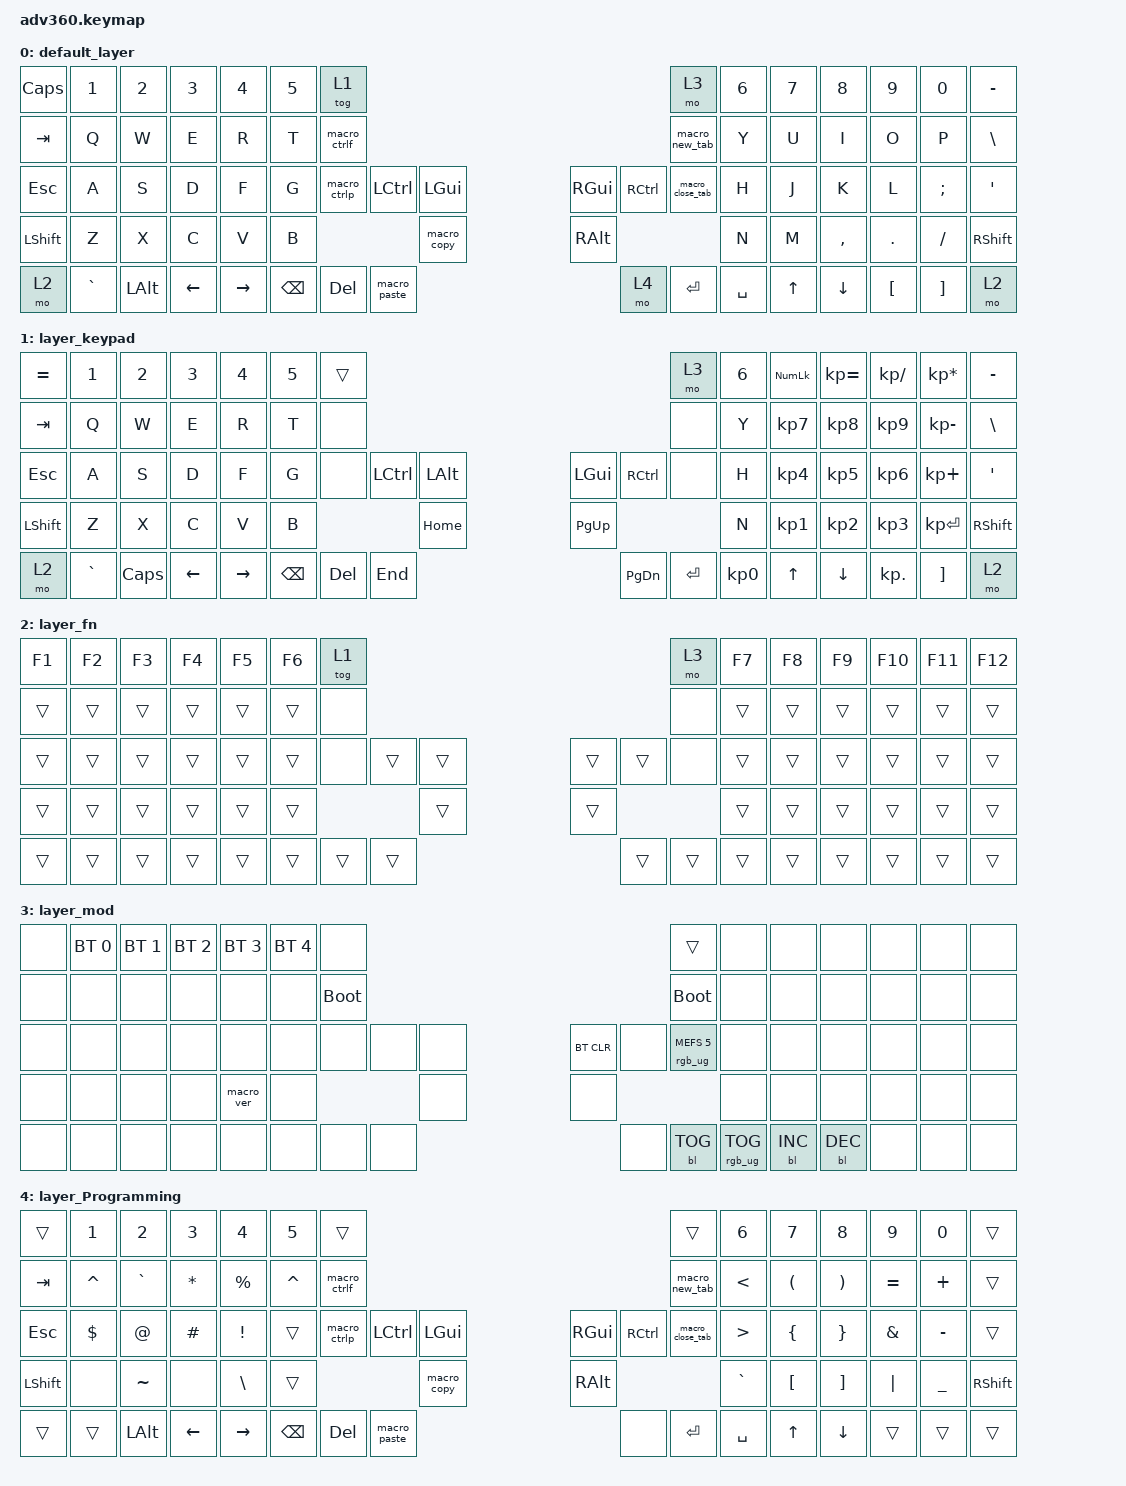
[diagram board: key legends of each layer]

/*
 * Copyright (c) 2020 The ZMK Contributors
 *
 * SPDX-License-Identifier: MIT
 */


/* THIS FILE WAS GENERATED!
 *
 * This file was generated automatically. You may or may not want to
 * edit it directly.
 */

#include <behaviors.dtsi>
#include <dt-bindings/zmk/keys.h>
#include <dt-bindings/zmk/bt.h>
#include <dt-bindings/zmk/rgb.h>
#include <dt-bindings/zmk/backlight.h>

/ {
  behaviors {
    #include "macros.dtsi"
    #include "version.dtsi"

    hm: homerow_mods {
        compatible = "zmk,behavior-hold-tap";
        label = "HOMEROW_MODS";
        #binding-cells = <2>;
        tapping-term-ms = <200>;
        quick_tap_ms = <175>;
        flavor = "tap-preferred";
        bindings = <&kp>, <&kp>;
    };
  };

    keymap {
        compatible = "zmk,keymap";


        default_layer {
            bindings = <
  &kp CAPS     &kp N1    &kp N2    &kp N3     &kp N4  &kp N5                  &tog 1                                                                           &mo 3  &kp N6  &kp N7     &kp N8    &kp N9    &kp N0  &kp MINUS
   &kp TAB      &kp Q     &kp W     &kp E      &kp R   &kp T            &macro_ctrlf                                                                  &macro_new_tab   &kp Y   &kp U      &kp I     &kp O     &kp P   &kp BSLH
   &kp ESC      &kp A     &kp S     &kp D      &kp F   &kp G            &macro_ctrlp  &kp LCTRL      &kp LGUI                  &kp RGUI  &kp RCTRL  &macro_close_tab   &kp H   &kp J      &kp K     &kp L  &kp SEMI    &kp SQT
 &kp LSHFT      &kp Z     &kp X     &kp C      &kp V   &kp B                                      &macro_copy                  &kp RALT                                &kp N   &kp M  &kp COMMA   &kp DOT  &kp FSLH  &kp RSHFT
     &mo 2  &kp GRAVE  &kp LALT  &kp LEFT  &kp RIGHT                        &kp BSPC    &kp DEL  &macro_paste                     &mo 4  &kp ENTER         &kp SPACE          &kp UP   &kp DOWN  &kp LBKT  &kp RBKT      &mo 2
            >;
        };

        layer_keypad {
            bindings = <
 &kp EQUAL     &kp N1    &kp N2    &kp N3     &kp N4  &kp N5              &trans                                                                 &mo 3  &kp N6  &kp KP_NUM  &kp KP_EQUAL  &kp KP_DIVIDE  &kp KP_MULTIPLY  &kp MINUS
   &kp TAB      &kp Q     &kp W     &kp E      &kp R   &kp T               &none                                                                 &none   &kp Y   &kp KP_N7     &kp KP_N8      &kp KP_N9     &kp KP_MINUS   &kp BSLH
   &kp ESC      &kp A     &kp S     &kp D      &kp F   &kp G               &none  &kp LCTRL  &kp LALT                   &kp LGUI  &kp RCTRL      &none   &kp H   &kp KP_N4     &kp KP_N5      &kp KP_N6      &kp KP_PLUS    &kp SQT
 &kp LSHFT      &kp Z     &kp X     &kp C      &kp V   &kp B                                 &kp HOME                  &kp PG_UP                         &kp N   &kp KP_N1     &kp KP_N2      &kp KP_N3     &kp KP_ENTER  &kp RSHFT
     &mo 2  &kp GRAVE  &kp CAPS  &kp LEFT  &kp RIGHT                    &kp BSPC    &kp DEL   &kp END                  &kp PG_DN  &kp ENTER  &kp KP_N0              &kp UP      &kp DOWN     &kp KP_DOT         &kp RBKT      &mo 2
            >;
        };

        layer_fn {
            bindings = <
 &kp F1  &kp F2  &kp F3  &kp F4  &kp F5  &kp F6            &tog 1                                                   &mo 3  &kp F7  &kp F8  &kp F9  &kp F10  &kp F11  &kp F12
 &trans  &trans  &trans  &trans  &trans  &trans             &none                                                   &none  &trans  &trans  &trans   &trans   &trans   &trans
 &trans  &trans  &trans  &trans  &trans  &trans             &none  &trans  &trans                  &trans  &trans   &none  &trans  &trans  &trans   &trans   &trans   &trans
 &trans  &trans  &trans  &trans  &trans  &trans                            &trans                  &trans                  &trans  &trans  &trans   &trans   &trans   &trans
 &trans  &trans  &trans  &trans  &trans                    &trans  &trans  &trans                  &trans  &trans  &trans          &trans  &trans   &trans   &trans   &trans
            >;
        };

        layer_mod {
            bindings = <
  &none  &bt BT_SEL 0  &bt BT_SEL 1  &bt BT_SEL 2  &bt BT_SEL 3  &bt BT_SEL 4                  &none                                                                          &trans   &none       &none       &none   &none   &none   &none
  &none         &none         &none         &none         &none         &none            &bootloader                                                                     &bootloader   &none       &none       &none   &none   &none   &none
  &none         &none         &none         &none         &none         &none                  &none   &none   &none                  &bt BT_CLR       &none  &rgb_ug RGB_MEFS_CMD 5   &none       &none       &none   &none   &none   &none
  &none         &none         &none         &none    &macro_ver         &none                                  &none                       &none                                       &none       &none       &none   &none   &none   &none
  &none         &none         &none         &none         &none                                &none   &none   &none                       &none  &bl BL_TOG         &rgb_ug RGB_TOG          &bl BL_INC  &bl BL_DEC   &none   &none   &none
            >;
        };

        layer_Programming {
            bindings = <
    &trans  &kp NUMBER_1  &kp NUMBER_2    &kp NUMBER_3     &kp NUMBER_4  &kp NUMBER_5                   &trans                                                                          &trans  &kp NUMBER_6  &kp NUMBER_7    &kp NUMBER_8   &kp NUMBER_9  &kp NUMBER_0     &trans
   &kp TAB     &kp CARET     &kp GRAVE    &kp ASTERISK      &kp PERCENT     &kp CARET             &macro_ctrlf                                                                  &macro_new_tab        &kp LT      &kp LPAR        &kp RPAR      &kp EQUAL      &kp PLUS     &trans
   &kp ESC    &kp DOLLAR        &kp AT        &kp HASH  &kp EXCLAMATION        &trans             &macro_ctrlp  &kp LCTRL  &kp LEFT_GUI                  &kp RGUI  &kp RCTRL  &macro_close_tab        &kp GT      &kp LBRC        &kp RBRC  &kp AMPERSAND     &kp MINUS     &trans
 &kp LSHFT         &none     &kp TILDE           &none         &kp BSLH        &trans                                       &macro_copy                  &kp RALT                                  &kp GRAVE      &kp LBKT        &kp RBKT       &kp PIPE     &kp UNDER  &kp RSHFT
    &trans        &trans      &kp LALT  &kp LEFT_ARROW  &kp RIGHT_ARROW                          &kp BACKSPACE    &kp DEL  &macro_paste                     &none  &kp ENTER         &kp SPACE                &kp UP_ARROW  &kp DOWN_ARROW         &trans        &trans     &trans
            >;
        };

    };
};
